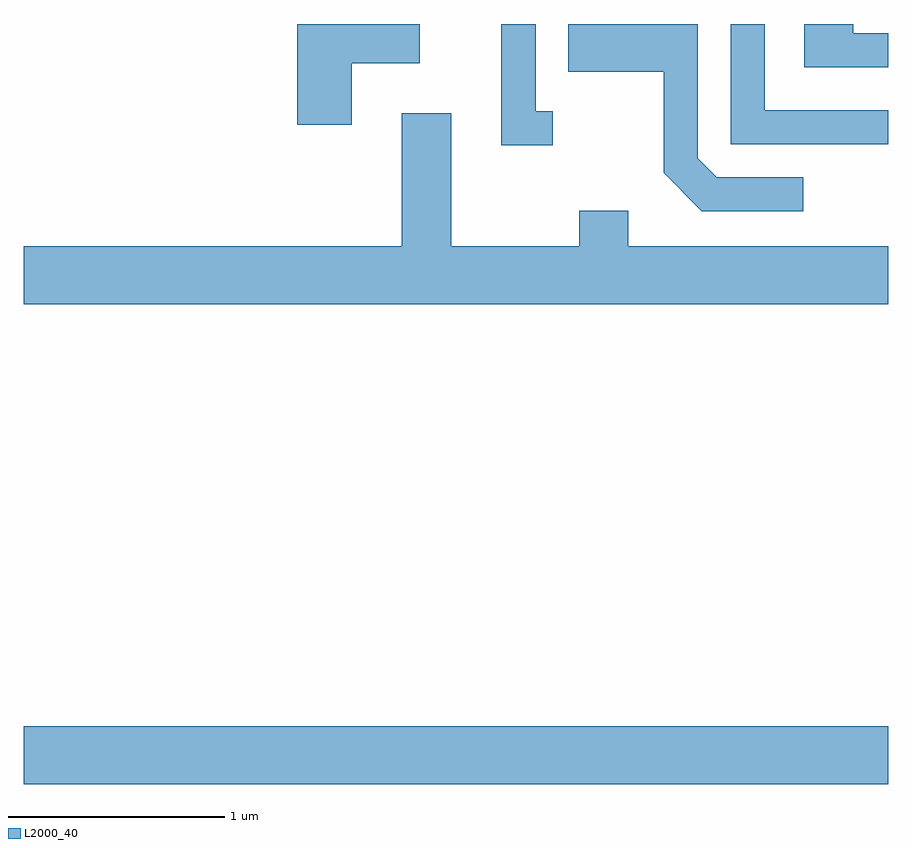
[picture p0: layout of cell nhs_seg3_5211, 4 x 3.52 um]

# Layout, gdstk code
import gdstk
lib = gdstk.Library(unit=1e-6, precision=1e-09)
def R(c, l, rs):  # rectangles x0, y0, x1, y1
    for r in rs: c.add(gdstk.rectangle(r[:2], r[2:], *l))
def P(c, l, *ps):  # polygons
    for p in ps: c.add(gdstk.Polygon(p, *l))
L2000_40 = (2000, 40)

nhs_seg3_5211 = lib.new_cell('nhs_seg3_5211')
R(nhs_seg3_5211, L2000_40, [(337.611,1210.376,341.611,1210.644)])
P(nhs_seg3_5211, L2000_40, [(341.611,1213.849),(341.449,1213.849),(341.449,1213.892),(341.221,1213.892),(341.221,1213.691),(341.611,1213.691)],
  [(341.611,1213.494),(341.039,1213.494),(341.039,1213.892),(340.881,1213.892),(340.881,1213.336),(341.611,1213.336)],
  [(341.218,1213.184),(340.817,1213.184),(340.729,1213.272),(340.729,1213.892),(340.131,1213.892),(340.131,1213.671),(340.571,1213.671),(340.571,1213.204),(340.749,1213.026),(341.218,1213.026)],
  [(339.129,1213.711),(339.444,1213.711),(339.444,1213.892),(338.876,1213.892),(338.876,1213.426),(339.129,1213.426)],
  [(340.058,1213.489),(339.979,1213.489),(339.979,1213.892),(339.821,1213.892),(339.821,1213.331),(340.058,1213.331)],
  [(341.611,1212.864),(340.409,1212.864),(340.409,1213.029),(340.181,1213.029),(340.181,1212.864),(339.589,1212.864),(339.589,1213.479),(339.361,1213.479),(339.361,1212.864),(337.611,1212.864),(337.611,1212.596),(341.611,1212.596)])

lib.write_gds('nhs_seg3_5211.gds')
